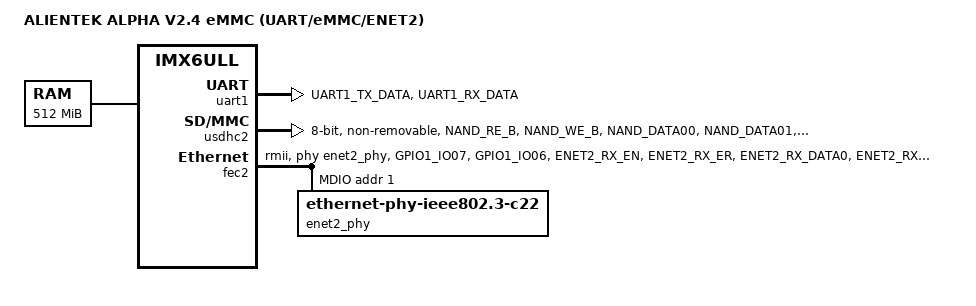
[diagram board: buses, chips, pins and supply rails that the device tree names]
// SPDX-License-Identifier: GPL-2.0
/* ALIENTEK ALPHA V2.4, 512 MiB DDR, eMMC: UART/eMMC/ENET2 bring-up.
 * Pin settings derived from ALIENTEK Linux 4.1.15.
 * Display, audio, USB and SD are not enabled yet.
 */
/dts-v1/;
#include "imx6ull.dtsi"
/ {
    model = "ALIENTEK ALPHA V2.4 eMMC (UART/eMMC/ENET2)";
    compatible = "alientek,imx6ull-alpha-v24-emmc", "fsl,imx6ull";
    chosen { stdout-path = "serial0:115200n8"; };
    memory@80000000 {
        device_type = "memory";
        reg = <0x80000000 0x20000000>;
    };
};
&clks {
    assigned-clocks = <&clks IMX6UL_CLK_PLL3_PFD2>;
    assigned-clock-rates = <320000000>;
};
&uart1 {
    pinctrl-names = "default";
    pinctrl-0 = <&pinctrl_uart1>;
    status = "okay";
};
&usdhc2 {
    pinctrl-names = "default";
    pinctrl-0 = <&pinctrl_usdhc2_8bit>;
    bus-width = <8>;
    non-removable;
    no-1-8-v;
    max-frequency = <52000000>;
    status = "okay";
};
&iomuxc {
pinctrl_uart1: uart1grp {
			fsl,pins = <
				MX6UL_PAD_UART1_TX_DATA__UART1_DCE_TX 0x1b0b1
				MX6UL_PAD_UART1_RX_DATA__UART1_DCE_RX 0x1b0b1
			>;
		};

pinctrl_usdhc2_8bit: usdhc2grp_8bit {
			fsl,pins = <
				MX6UL_PAD_NAND_RE_B__USDHC2_CLK     0x10069
				MX6UL_PAD_NAND_WE_B__USDHC2_CMD     0x17059
				MX6UL_PAD_NAND_DATA00__USDHC2_DATA0 0x17059
				MX6UL_PAD_NAND_DATA01__USDHC2_DATA1 0x17059
				MX6UL_PAD_NAND_DATA02__USDHC2_DATA2 0x17059
				MX6UL_PAD_NAND_DATA03__USDHC2_DATA3 0x17059
				MX6UL_PAD_NAND_DATA04__USDHC2_DATA4 0x17059
				MX6UL_PAD_NAND_DATA05__USDHC2_DATA5 0x17059
				MX6UL_PAD_NAND_DATA06__USDHC2_DATA6 0x17059
				MX6UL_PAD_NAND_DATA07__USDHC2_DATA7 0x17059
			>;
		};
};

/ {
    aliases {
        ethernet0 = &fec2;
        /delete-property/ ethernet1;
    };
};

&fec1 {
    status = "disabled";
};

&fec2 {
    pinctrl-names = "default";
    pinctrl-0 = <&pinctrl_enet2 &pinctrl_enet2_reset>;
    phy-mode = "rmii";
    phy-handle = <&enet2_phy>;
    assigned-clocks = <&clks IMX6UL_CLK_ENET2_REF_SEL>,
                      <&clks IMX6UL_CLK_ENET2_REF>;
    assigned-clock-parents = <&clks IMX6UL_CLK_ENET2_REF_125M>;
    assigned-clock-rates = <0>, <50000000>;
    status = "okay";

    mdio {
        #address-cells = <1>;
        #size-cells = <0>;
        /* Reset ENET2 before PHY ID detection. ENET1 is not enabled. */
        reset-gpios = <&gpio5 8 GPIO_ACTIVE_LOW>;
        reset-delay-us = <100000>;
        reset-post-delay-us = <200000>;

        enet2_phy: ethernet-phy@1 {
            compatible = "ethernet-phy-ieee802.3-c22";
            reg = <1>;
        };
    };
};

&iomuxc {
    pinctrl_enet2: enet2grp {
        fsl,pins = <
            MX6UL_PAD_GPIO1_IO07__ENET2_MDC          0x1b0b0
            MX6UL_PAD_GPIO1_IO06__ENET2_MDIO         0x1b0b0
            MX6UL_PAD_ENET2_RX_EN__ENET2_RX_EN       0x1b0b0
            MX6UL_PAD_ENET2_RX_ER__ENET2_RX_ER       0x1b0b0
            MX6UL_PAD_ENET2_RX_DATA0__ENET2_RDATA00  0x1b0b0
            MX6UL_PAD_ENET2_RX_DATA1__ENET2_RDATA01  0x1b0b0
            MX6UL_PAD_ENET2_TX_EN__ENET2_TX_EN       0x1b0b0
            MX6UL_PAD_ENET2_TX_DATA0__ENET2_TDATA00  0x1b0b0
            MX6UL_PAD_ENET2_TX_DATA1__ENET2_TDATA01  0x1b0b0
            MX6UL_PAD_ENET2_TX_CLK__ENET2_REF_CLK2   0x4001b031
        >;
    };
};

&iomuxc_snvs {
    pinctrl_enet2_reset: enet2-reset-grp {
        fsl,pins = <
            MX6ULL_PAD_SNVS_TAMPER8__GPIO5_IO08 0x10b0
        >;
    };
};
